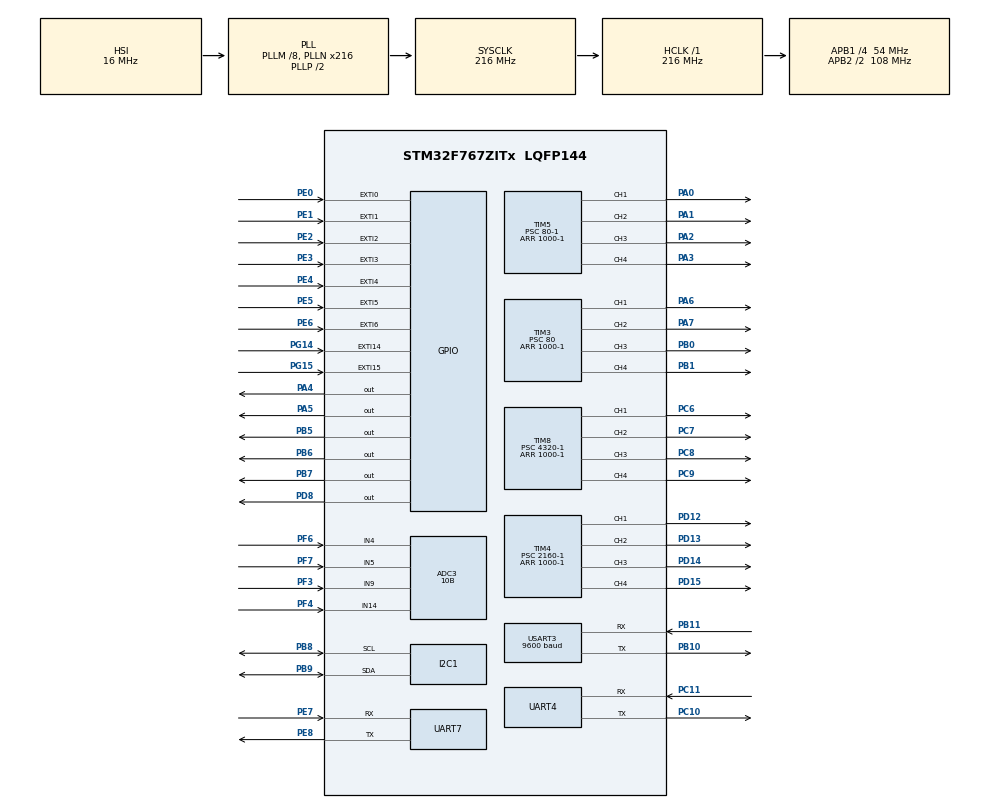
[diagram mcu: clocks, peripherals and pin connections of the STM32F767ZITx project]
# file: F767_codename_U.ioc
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ADC3.Channel-0\#ChannelRegularConversion=ADC_CHANNEL_9
ADC3.ContinuousConvMode=ENABLE
ADC3.DMAContinuousRequests=DISABLE
ADC3.EOCSelection=ADC_EOC_SEQ_CONV
ADC3.InjNumberOfConversion=0
ADC3.NbrOfConversion=1
ADC3.NbrOfConversionFlag=1
ADC3.Rank-0\#ChannelRegularConversion=1
ADC3.Resolution=ADC_RESOLUTION_10B
ADC3.SamplingTime-0\#ChannelRegularConversion=ADC_SAMPLETIME_56CYCLES
Dma.ADC3.0.Direction=DMA_PERIPH_TO_MEMORY
Dma.ADC3.0.FIFOMode=DMA_FIFOMODE_DISABLE
Dma.ADC3.0.Instance=DMA2_Stream0
Dma.ADC3.0.MemDataAlignment=DMA_MDATAALIGN_HALFWORD
Dma.ADC3.0.MemInc=DMA_MINC_ENABLE
Dma.ADC3.0.Mode=DMA_CIRCULAR
Dma.ADC3.0.PeriphDataAlignment=DMA_PDATAALIGN_HALFWORD
Dma.ADC3.0.PeriphInc=DMA_PINC_DISABLE
Dma.ADC3.0.Priority=DMA_PRIORITY_MEDIUM
Dma.Request0=ADC3
Dma.Request1=USART3_RX
Dma.USART3_RX.1.Direction=DMA_PERIPH_TO_MEMORY
Dma.USART3_RX.1.FIFOMode=DMA_FIFOMODE_DISABLE
Dma.USART3_RX.1.Instance=DMA1_Stream1
Dma.USART3_RX.1.MemDataAlignment=DMA_MDATAALIGN_BYTE
Dma.USART3_RX.1.MemInc=DMA_MINC_ENABLE
Dma.USART3_RX.1.Mode=DMA_CIRCULAR
Dma.USART3_RX.1.PeriphDataAlignment=DMA_PDATAALIGN_BYTE
Dma.USART3_RX.1.PeriphInc=DMA_PINC_DISABLE
Dma.USART3_RX.1.Priority=DMA_PRIORITY_MEDIUM
I2C1.Timing=0x20404768
Mcu.Family=STM32F7
Mcu.Name=STM32F767ZITx
Mcu.Package=LQFP144
NVIC.ADC_IRQn=true\:1\:0\:true\:false\:true\:true\:true
NVIC.DMA1_Stream1_IRQn=true\:0\:0\:false\:false\:true\:false\:true
NVIC.DMA2_Stream0_IRQn=true\:0\:0\:false\:false\:true\:false\:true
NVIC.EXTI0_IRQn=true\:0\:0\:false\:false\:true\:true\:true
NVIC.EXTI15_10_IRQn=true\:0\:0\:false\:false\:true\:true\:true
NVIC.EXTI1_IRQn=true\:0\:0\:false\:false\:true\:true\:true
NVIC.EXTI2_IRQn=true\:0\:0\:false\:false\:true\:true\:true
NVIC.EXTI3_IRQn=true\:0\:0\:false\:false\:true\:true\:true
NVIC.EXTI4_IRQn=true\:0\:0\:false\:false\:true\:true\:true
NVIC.EXTI9_5_IRQn=true\:0\:0\:false\:false\:true\:true\:true
NVIC.PriorityGroup=NVIC_PRIORITYGROUP_4
NVIC.USART3_IRQn=true\:0\:0\:false\:false\:true\:true\:true
PA0/WKUP.Signal=S_TIM5_CH1
PA1.Signal=S_TIM5_CH2
PA13.Mode=Serial_Wire
PA13.Signal=SYS_JTMS-SWDIO
PA14.Mode=Serial_Wire
PA14.Signal=SYS_JTCK-SWCLK
PA2.Signal=S_TIM5_CH3
PA3.Signal=S_TIM5_CH4
PA4.Signal=GPIO_Output
PA5.Signal=GPIO_Output
PA6.Signal=S_TIM3_CH1
PA7.Signal=S_TIM3_CH2
PB0.Signal=S_TIM3_CH3
PB1.Signal=S_TIM3_CH4
PB10.Mode=Asynchronous
PB10.Signal=USART3_TX
PB11.Mode=Asynchronous
PB11.Signal=USART3_RX
PB3.Signal=SYS_JTDO-SWO
PB5.Signal=GPIO_Output
PB6.Signal=GPIO_Output
PB7.Signal=GPIO_Output
PB8.Mode=I2C
PB8.Signal=I2C1_SCL
PB9.Mode=I2C
PB9.Signal=I2C1_SDA
PC10.Mode=Asynchronous
PC10.Signal=UART4_TX
PC11.Mode=Asynchronous
PC11.Signal=UART4_RX
PC6.Signal=S_TIM8_CH1
PC7.Signal=S_TIM8_CH2
PC8.Signal=S_TIM8_CH3
PC9.Signal=S_TIM8_CH4
PD12.Signal=S_TIM4_CH1
PD13.Signal=S_TIM4_CH2
PD14.Signal=S_TIM4_CH3
PD15.Signal=S_TIM4_CH4
PD8.Signal=GPIO_Output
PE0.GPIO_ModeDefaultEXTI=GPIO_MODE_IT_RISING_FALLING
PE0.GPIO_PuPd=GPIO_PULLUP
PE0.Signal=GPXTI0
PE1.GPIO_ModeDefaultEXTI=GPIO_MODE_IT_RISING_FALLING
PE1.GPIO_PuPd=GPIO_PULLUP
PE1.Signal=GPXTI1
PE2.GPIO_ModeDefaultEXTI=GPIO_MODE_IT_RISING_FALLING
PE2.GPIO_PuPd=GPIO_PULLUP
PE2.Signal=GPXTI2
PE3.GPIO_ModeDefaultEXTI=GPIO_MODE_IT_RISING_FALLING
PE3.GPIO_PuPd=GPIO_PULLUP
PE3.Signal=GPXTI3
PE4.GPIO_ModeDefaultEXTI=GPIO_MODE_IT_RISING_FALLING
PE4.GPIO_PuPd=GPIO_PULLUP
PE4.Signal=GPXTI4
PE5.GPIO_ModeDefaultEXTI=GPIO_MODE_IT_RISING_FALLING
PE5.GPIO_PuPd=GPIO_PULLUP
PE5.Signal=GPXTI5
PE6.GPIO_ModeDefaultEXTI=GPIO_MODE_IT_RISING_FALLING
PE6.GPIO_PuPd=GPIO_PULLUP
PE6.Signal=GPXTI6
PE7.Mode=Asynchronous
PE7.Signal=UART7_RX
PE8.Mode=Asynchronous
PE8.Signal=UART7_TX
PF3.Mode=IN9
PF3.Signal=ADC3_IN9
PF4.Mode=IN14
PF4.Signal=ADC3_IN14
PF6.Mode=IN4
PF6.Signal=ADC3_IN4
PF7.Mode=IN5
PF7.Signal=ADC3_IN5
PG14.GPIO_ModeDefaultEXTI=GPIO_MODE_IT_RISING_FALLING
PG14.GPIO_PuPd=GPIO_PULLUP
PG14.Signal=GPXTI14
PG15.GPIO_ModeDefaultEXTI=GPIO_MODE_IT_RISING_FALLING
PG15.GPIO_PuPd=GPIO_PULLUP
PG15.Signal=GPXTI15
PH0/OSC_IN.Mode=HSE-External-Oscillator
PH0/OSC_IN.Signal=RCC_OSC_IN
PH1/OSC_OUT.Mode=HSE-External-Oscillator
PH1/OSC_OUT.Signal=RCC_OSC_OUT
ProjectManager.HeapSize=0x200
ProjectManager.StackSize=0x400
ProjectManager.TargetToolchain=STM32CubeIDE
RCC.AHBFreq_Value=216000000
RCC.APB1CLKDivider=RCC_HCLK_DIV4
RCC.APB1Freq_Value=54000000
RCC.APB1TimFreq_Value=108000000
RCC.APB2CLKDivider=RCC_HCLK_DIV2
RCC.APB2Freq_Value=108000000
RCC.APB2TimFreq_Value=216000000
RCC.CortexFreq_Value=216000000
RCC.HCLKFreq_Value=216000000
RCC.HSE_VALUE=25000000
RCC.HSI_VALUE=16000000
RCC.LSE_VALUE=32768
RCC.PLLM=8
RCC.PLLN=216
RCC.SYSCLKFreq_VALUE=216000000
RCC.SYSCLKSource=RCC_SYSCLKSOURCE_PLLCLK
RCC.USBFreq_Value=216000000
RCC.VCOOutputFreq_Value=432000000
SH.S_TIM3_CH1.0=TIM3_CH1,PWM Generation1 CH1
SH.S_TIM3_CH2.0=TIM3_CH2,PWM Generation2 CH2
SH.S_TIM3_CH3.0=TIM3_CH3,PWM Generation3 CH3
SH.S_TIM3_CH4.0=TIM3_CH4,PWM Generation4 CH4
SH.S_TIM4_CH1.0=TIM4_CH1,PWM Generation1 CH1
SH.S_TIM4_CH2.0=TIM4_CH2,PWM Generation2 CH2
SH.S_TIM4_CH3.0=TIM4_CH3,PWM Generation3 CH3
SH.S_TIM4_CH4.0=TIM4_CH4,PWM Generation4 CH4
SH.S_TIM5_CH1.0=TIM5_CH1,PWM Generation1 CH1
SH.S_TIM5_CH2.0=TIM5_CH2,PWM Generation2 CH2
SH.S_TIM5_CH3.0=TIM5_CH3,PWM Generation3 CH3
SH.S_TIM5_CH4.0=TIM5_CH4,PWM Generation4 CH4
SH.S_TIM8_CH1.0=TIM8_CH1,PWM Generation1 CH1
SH.S_TIM8_CH2.0=TIM8_CH2,PWM Generation2 CH2
SH.S_TIM8_CH3.0=TIM8_CH3,PWM Generation3 CH3
SH.S_TIM8_CH4.0=TIM8_CH4,PWM Generation4 CH4
TIM3.Channel-PWM\ Generation1\ CH1=TIM_CHANNEL_1
TIM3.Channel-PWM\ Generation2\ CH2=TIM_CHANNEL_2
TIM3.Channel-PWM\ Generation3\ CH3=TIM_CHANNEL_3
TIM3.Channel-PWM\ Generation4\ CH4=TIM_CHANNEL_4
TIM3.Period=1000-1
TIM3.Prescaler=80
TIM4.Channel-PWM\ Generation1\ CH1=TIM_CHANNEL_1
TIM4.Channel-PWM\ Generation2\ CH2=TIM_CHANNEL_2
TIM4.Channel-PWM\ Generation3\ CH3=TIM_CHANNEL_3
TIM4.Channel-PWM\ Generation4\ CH4=TIM_CHANNEL_4
TIM4.Period=1000-1
TIM4.Prescaler=2160-1
TIM5.Channel-PWM\ Generation1\ CH1=TIM_CHANNEL_1
TIM5.Channel-PWM\ Generation2\ CH2=TIM_CHANNEL_2
TIM5.Channel-PWM\ Generation3\ CH3=TIM_CHANNEL_3
TIM5.Channel-PWM\ Generation4\ CH4=TIM_CHANNEL_4
TIM5.Period=1000-1
TIM5.Prescaler=80-1
TIM8.Channel-PWM\ Generation1\ CH1=TIM_CHANNEL_1
TIM8.Channel-PWM\ Generation2\ CH2=TIM_CHANNEL_2
TIM8.Channel-PWM\ Generation3\ CH3=TIM_CHANNEL_3
TIM8.Channel-PWM\ Generation4\ CH4=TIM_CHANNEL_4
TIM8.Period=1000-1
TIM8.Prescaler=4320-1
USART3.BaudRate=9600
USART3.RxPinLevelInvertParam=ADVFEATURE_RXINV_DISABLE
USART3.SwapParam=ADVFEATURE_SWAP_DISABLE
USART3.TxPinLevelInvertParam=ADVFEATURE_TXINV_DISABLE
USART3.VirtualMode-Asynchronous=VM_ASYNC
VP_TIM3_VS_ClockSourceINT.Mode=Internal
VP_TIM4_VS_ClockSourceINT.Mode=Internal
VP_TIM5_VS_ClockSourceINT.Mode=Internal
VP_TIM8_VS_ClockSourceINT.Mode=Internal
board=custom

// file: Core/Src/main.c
/* USER CODE BEGIN Header */
/**
  ******************************************************************************
  * @file           : main.c
  * @brief          : Main program body
  ******************************************************************************
  * @attention
  *
  * <h2><center>&copy; Copyright (c) 2025 STMicroelectronics.
  * All rights reserved.</center></h2>
  *
  * This software component is licensed by ST under BSD 3-Clause license,
  * the "License"; You may not use this file except in compliance with the
  * License. You may obtain a copy of the License at:
  *                        opensource.org/licenses/BSD-3-Clause
  *
  ******************************************************************************
  */
/* USER CODE END Header */

#include "main.h"
#include "adc.h"
#include "dma.h"
#include "i2c.h"
#include "tim.h"
#include "usart.h"
#include "gpio.h"

/* USER CODE BEGIN Includes */
#include "stdbool.h"
#include "stdlib.h"
#include "stdio.h"
#include "omuni_3.h"
#include "servo.h"
#include "SO1602A.h"
#include "BNO055.h"
/* USER CODE END Includes */

void SystemClock_Config(void);

/* USER CODE BEGIN 0 */
bool SW_red = 0;			//takuto switch
bool SW_blue = 0;
bool SW_white = 0;
bool SW_black = 0;
bool status_1;				//toggle 1
bool status_2;				//toggle 2
bool status_3;				//toggle 3
bool servo_sel;

uint16_t speed;				//normal speed
uint16_t test_speed = 0;	//test speed
uint8_t test_servo;
int test_pulse1;
int test_pulse2;

uint16_t servo1_kakudo = servo1_init * 4;
uint16_t servo2_kakudo = servo2_init * 4;
uint16_t servo3_kakudo = servo3_init * 4;
uint16_t servo4_kakudo = servo4_init * 4;
uint16_t servo5_kakudo = servo5_init * 4;
uint16_t servo6_kakudo = servo6_init * 4;
uint16_t servo7_kakudo = servo7_init * 4;
uint16_t servo8_kakudo = servo8_init * 4;

int adcvalue;
uint16_t adc_value[2];
int adcvalue0;
int adcvalue1;
uint8_t cnt;

char str_1[5];				//strings for LCD display
char str_test[4];			//need to use strings for LCD
char str_servo[2];
char str_speed[2];
char str_potentio1[2];
char str_potentio2[2];
char str_bno[2];

char rxbuf[2];

BNO055 bno;				//define structure for BNO055

float defaultYaw;		//define the beggining value of BNO055
float defaultgyrox;
float defaultgyroy;
float defaultgyroz;

int robotYaw;			//define current value of BNO055
int robot_gyro_x;
int robot_gyro_y;
int robot_gyro_z;

void HAL_GPIO_EXTI_Callback(uint16_t GPIO_Pin){
	if(GPIO_Pin == GPIO_PIN_0){				//toggle 3
		if(HAL_GPIO_ReadPin(GPIOE,GPIO_PIN_0) == 0){
			status_3 = 1;
		}else{
			status_3 = 0;
		}
	}else if(GPIO_Pin == GPIO_PIN_1){		//toggle 1
		if(HAL_GPIO_ReadPin(GPIOE,GPIO_PIN_1) == 0){
			status_1 = 1;
		}else{
			status_1 = 0;
		}
	}else if(GPIO_Pin == GPIO_PIN_2){		//toggle 2
		if(HAL_GPIO_ReadPin(GPIOE,GPIO_PIN_2) == 0){
			status_2 = 1;
		}else {
			status_2 = 0;
		}
	}else if(GPIO_Pin == GPIO_PIN_3){		//botton black
		if(HAL_GPIO_ReadPin(GPIOE,GPIO_PIN_3) == 0){
			SW_black = 1;
		}else {
			SW_black = 0;
		}
	}else if(GPIO_Pin == GPIO_PIN_4){		//botton white
		if(HAL_GPIO_ReadPin(GPIOE,GPIO_PIN_4) == 0){
			SW_white = 1;
		}else {
			SW_white = 0;
		}
	}else if(GPIO_Pin == GPIO_PIN_5){		//botton red
		if(HAL_GPIO_ReadPin(GPIOE,GPIO_PIN_5) == 0){
			SW_red = 1;
		}else {
			SW_red = 0;
		}
	}else if(GPIO_Pin == GPIO_PIN_6){		//botton blue
		if(HAL_GPIO_ReadPin(GPIOE,GPIO_PIN_6) == 0){
			SW_blue = 1;
		}else {
			SW_blue = 0;
		}
	}

}
/* USER CODE END 0 */

int main(void)
{

  /* MCU Configuration--------------------------------------------------------*/

  /* Reset of all peripherals, Initializes the Flash interface and the Systick. */
  HAL_Init();

  /* Configure the system clock */
  SystemClock_Config();

  /* Initialize all configured peripherals */
  MX_GPIO_Init();
  MX_DMA_Init();
  MX_TIM3_Init();
  MX_TIM4_Init();
  MX_TIM5_Init();
  MX_TIM8_Init();
  MX_I2C1_Init();
  MX_UART7_Init();
  MX_USART3_UART_Init();
  MX_ADC3_Init();
  MX_UART4_Init();
  /* USER CODE BEGIN 2 */
  HAL_GPIO_WritePin(GPIOD,GPIO_PIN_8,SET);			//light up the LED on the board
  HAL_UART_Receive_DMA(&huart3 , (uint8_t *)rxbuf , 2 );		//tpip
  //HAL_UART_Receive_DMA(&huart3 , (uint8_t *)rxbuf , 2 );		//raspi

  HAL_TIM_PWM_Start(&htim3,TIM_CHANNEL_1);		//dc motor pwm start
  HAL_TIM_PWM_Start(&htim3,TIM_CHANNEL_2);
  HAL_TIM_PWM_Start(&htim3,TIM_CHANNEL_3);
  HAL_TIM_PWM_Start(&htim3,TIM_CHANNEL_4);
  HAL_TIM_PWM_Start(&htim5,TIM_CHANNEL_1);
  HAL_TIM_PWM_Start(&htim5,TIM_CHANNEL_2);
  HAL_TIM_PWM_Start(&htim5,TIM_CHANNEL_3);
  HAL_TIM_PWM_Start(&htim5,TIM_CHANNEL_4);

  HAL_TIM_PWM_Start(&htim4,TIM_CHANNEL_1);		//servo pwm start
  HAL_TIM_PWM_Start(&htim4,TIM_CHANNEL_2);
  HAL_TIM_PWM_Start(&htim4,TIM_CHANNEL_3);
  HAL_TIM_PWM_Start(&htim4,TIM_CHANNEL_4);
  HAL_TIM_PWM_Start(&htim8,TIM_CHANNEL_1);
  HAL_TIM_PWM_Start(&htim8,TIM_CHANNEL_2);
  HAL_TIM_PWM_Start(&htim8,TIM_CHANNEL_3);
  HAL_TIM_PWM_Start(&htim8,TIM_CHANNEL_4);

  oled_Init(&hi2c1);		//LCD initialize
  OLED_Init();
  set_cursor(1,0);
  Puts("start");
  set_cursor(2,0);
  Puts("3 gouki");

  BNO055_init(&bno , &hi2c1);		//BNO055 initialize

  char bno_check = BNO055_check(&bno);			//for debug
  BNO055_reset(&bno);
  BNO055_set_angle_units(&bno , DEGREES);
  BNO055_setpowermode(&bno , POWER_MODE_NORMAL);
  BNO055_setmode(&bno , OPERATION_MODE_NDOF);

  char bno_state = BNO055_bno_state(&bno);		//for debug
  //xprintf("%d , %d\n" , bno_check , bno_state);		//for debugging BNO055

  BNO055_get_angles(&bno);				//get initial value
  BNO055_get_gyro(&bno);
  defaultYaw = bno.euler.yaw;
  defaultgyrox = bno.gyro.x;
  defaultgyroy = bno.gyro.y;
  defaultgyroz = bno.gyro.z;

  servo_init();

  HAL_GPIO_WritePin(GPIOD,GPIO_PIN_8,RESET);		//turn off the LED on the board
  HAL_GPIO_WritePin(GPIOA,GPIO_PIN_4,SET);			//turn on the motor driver	1 and 2
  HAL_GPIO_WritePin(GPIOA,GPIO_PIN_5,SET);			//turn on the motor driver  3 and 4

  //HAL_ADC_Start_DMA(&hadc3 , (uint32_t *)adc_value , 2 );

  /* USER CODE END 2 */

  /* Infinite loop */
  /* USER CODE BEGIN WHILE */
  while (1)
  {
	  if(status_1 && status_2 && status_3){			//uart mode
		  HAL_UART_Receive_DMA(&huart3 , (uint8_t *)rxbuf , 2 );		//tpip

		  HAL_GPIO_WritePin(GPIOB,GPIO_PIN_5,SET);		//turn off the full color LED
		  HAL_GPIO_WritePin(GPIOB,GPIO_PIN_6,SET);
		  HAL_GPIO_WritePin(GPIOB,GPIO_PIN_7,SET);

		  speed = rxbuf[1];
		  speed = map(speed , 0 , 100 , 0 , 999);
		  sprintf(str_speed,"%d",speed);		//convert speed value to strings

		  OLED_Init();			//LCD initialize and display
		  set_cursor(1,0);
		  Puts("UART mode");
		  set_cursor(2,0);
		  Puts("Received ");
		  set_cursor(2,10);
		  Puts(rxbuf);
		  set_cursor(2,13);
		  Puts(str_speed);			//display speed value

		  if(rxbuf[0] == 'k'){
		  	  omuni(0,0);
		  	  motor_4(0,0);

	  	  }else if(rxbuf[0] == 'c'){
			  omuni(2,speed);			// forward
			  if(rxbuf[0] == 'k'){
				  for(int cnt = 500 ; cnt > 0 ; cnt--){
					  omuni(2 , cnt);
				  }
				  break;
			  }

		  }else if(rxbuf[0] == 'g'){
			  omuni(1,speed);			// back

		  }else if(rxbuf[0] == 'i'){		//turn right
			  omuni(5,speed);

		  }else if(rxbuf[0] == 'j'){		//turn left
			  omuni(6,speed);

		  }else if(rxbuf[0] == 'a'){		//right
			  omuni(4,speed);

		  }else if(rxbuf[0] == 'e'){		//left
			  omuni(3,speed);

		  }else if(rxbuf[0] == 'l'){		//rescue arm up
			  motor_4(999 , 0);

		  }else if(rxbuf[0] == 'm'){		//rescue arm down
			  motor_4(0 , 999);

		  }else if(rxbuf[0] == 'n'){		//camera arm up
			  for(;servo5_kakudo > 0 ; servo5_kakudo--){
				  servo_5(servo5_kakudo / 4);
				  HAL_Delay(5);
				  if(rxbuf[0] == 'k'){
					  break;
				  }
			  }

		  }else if(rxbuf[0] == 'o'){		//camera arm down
			  for(;servo5_kakudo < 600 ; servo5_kakudo++){
				  servo_5(servo5_kakudo / 4);
				  HAL_Delay(5);
				  if(rxbuf[0] == 'k'){
					  break;
				  }
			  }

		  }else if(rxbuf[0] == 'p'){		//right rescue arm CW
			  for(;servo1_kakudo > 0 ; servo1_kakudo--){
				  servo_1(servo1_kakudo / 4);
				  HAL_Delay(5);
				  if(rxbuf[0] == 'k'){
					  break;
				  }
			  }

		  }else if(rxbuf[0] == 'q'){		//right rescue arm CCW
			  for(;servo1_kakudo < 360  ; servo1_kakudo++){
				  servo_1(servo1_kakudo / 4);
				  HAL_Delay(5);
				  if(rxbuf[0] == 'k'){
					  break;
				  }
			  }

		  }else if(rxbuf[0] == 'r'){		//left rescue arm CW
			  for(;servo2_kakudo > 360 ; servo2_kakudo--){
				  servo_2(servo2_kakudo / 4);
				  HAL_Delay(5);
				  if(rxbuf[0] == 'k'){
					  break;
				  }
			  }

		  }else if(rxbuf[0] == 's'){		//left rescue arm CCW
			  for(;servo2_kakudo < 720 ; servo2_kakudo++){
				  servo_2(servo2_kakudo / 4);
				  HAL_Delay(5);
				  if(rxbuf[0] == 'k'){
					  break;
				  }
			  }

		  }else if(rxbuf[0] == 't'){		//rescue arm up
			  for(;servo3_kakudo < 720 ; servo3_kakudo++){
				  servo_3(servo3_kakudo / 4);
				  servo_4((int)map(servo3_kakudo , 0 , 720 , 720 , 0) / 4);
				  HAL_Delay(8);
				  if(rxbuf[0] == 'k'){
					  break;
				  }
			  }

		  }else if(rxbuf[0] == 'u'){		//rescue arm down
			  for(;servo3_kakudo > 0 ; servo3_kakudo--){
				  servo_3(servo3_kakudo / 4);
				  servo_4((int)map(servo3_kakudo , 0 , 720, 720 , 0) / 4);
				  HAL_Delay(8);
				  if(rxbuf[0] == 'k'){
					  break;
				  }
			  }

		  }else if(rxbuf[0] == 'v'){		//rescue arm initializing position
			  servo_init();
			  servo1_kakudo = servo1_init * 4;
			  servo2_kakudo = servo2_init * 4;
			  servo3_kakudo = servo3_init * 4;
			  servo4_kakudo = servo4_init * 4;

		  }else if(rxbuf[0] == 'w'){		//rescue arm close at the same time
			  for(;servo1_kakudo < 360 ; servo1_kakudo++){
				  servo_1(servo1_kakudo / 4);
				  servo_2((int)map(servo1_kakudo , 0 , 360 , 720 , 360) / 4);
				  HAL_Delay(8);
				  if(rxbuf[0] == 'k'){
					  break;
				  }
			  }

		  }else if(rxbuf[0] == 'x'){		//rescue arm open at the same time
			  for(;servo1_kakudo > 0 ; servo1_kakudo--){
				  servo_1(servo1_kakudo / 4);
				  servo_2((int)map(servo1_kakudo , 0 , 360 , 720 , 360) / 4);
				  HAL_Delay(8);
				  if(rxbuf[0] == 'k'){
					  break;
				  }
			  }
		  }

	  }else if(status_1){			//servo test mode  		under development   don't use

		  HAL_GPIO_WritePin(GPIOB,GPIO_PIN_5,RESET);
		  HAL_GPIO_WritePin(GPIOB,GPIO_PIN_6,SET);
		  HAL_GPIO_WritePin(GPIOB,GPIO_PIN_7,SET);

		  if(SW_white){			//servo no tanntai or fukusuu no sentaku
			  servo_sel = 1;
		  }else if(SW_black){
			  servo_sel = 0;
		  }

		  HAL_ADC_Start(&hadc3);
		  if(HAL_ADC_PollForConversion(&hadc3,1000) == HAL_OK){		//potentiometer no yomitori
			  adcvalue = HAL_ADC_GetValue(&hadc3);
			  test_pulse1 = map(adcvalue , 0 , 1023 , 0 , 180);
			  HAL_ADC_Stop(&hadc3);
		  }

		  //adcvalue0 = adc_value[0];
		  //adcvalue1 = adc_value[1];

		  //test_pulse1 = adcvalue0 * 180 / 1023;
		  //test_pulse2 = adcvalue1 * 180 / 1023;
		  sprintf(str_potentio1,"%d",test_pulse1);
		  //sprintf(str_potentio2,"%d",test_pulse2);

		  if(servo_sel){			//servo tanntai dousa mode
			  OLED_Init();
			  set_cursor(1,0);
			  Puts("singular");

			  if(SW_red){			// servo bangou no sentaku
				  test_servo += 1;
			  }else if(SW_blue){
				  test_servo -= 1;
			  }
			  sprintf(str_servo,"%d",test_servo);		//strings ni henkan

			  set_cursor(2,0);				//settei naiyou no hyouji
			  Puts("servo:");
			  set_cursor(2,7);
			  Puts(str_servo);
			  set_cursor(2,10);
			  Puts(str_potentio1);

			  servo_move(test_servo , test_pulse1);			//servo wo ugokasu

		  }else if(!servo_sel){			// servo fukusuu dousa mode

			  OLED_Init();
			  set_cursor(1,0);
			  Puts("manipulator");
			  set_cursor(2,0);
			  Puts("1:");
			  set_cursor(2,3);
			  Puts(str_potentio1);
			  set_cursor(2,7);
			  Puts("2:");
			  set_cursor(2,10);
			  Puts(str_potentio2);

		  }

		  //HAL_ADC_Stop_DMA(&hadc3);			//hituyou

	  }else if(status_2){		//DC motor speed setting mode

		  HAL_GPIO_WritePin(GPIOB,GPIO_PIN_5,SET);
		  HAL_GPIO_WritePin(GPIOB,GPIO_PIN_6,RESET);
		  HAL_GPIO_WritePin(GPIOB,GPIO_PIN_7,SET);

		  sprintf(str_test,"%d",test_speed);		//convert number to strings

		  OLED_Init();			//initialize LCD and diplay
		  set_cursor(1,0);
		  Puts("speed setting");
		  set_cursor(2,0);
		  Puts("speed =");
		  set_cursor(2,8);
		  Puts(str_test);

		  if(SW_red){
			  test_speed += 50;
		  }else if(SW_blue){
			  test_speed -= 50;
		  }
	  }else if(status_3){		//omuni wheel test mode
		  HAL_GPIO_WritePin(GPIOB,GPIO_PIN_5,SET);
		  HAL_GPIO_WritePin(GPIOB,GPIO_PIN_6,SET);
		  HAL_GPIO_WritePin(GPIOB,GPIO_PIN_7,RESET);

		  BNO055_get_angles(&bno);		//get value of BNO055
		  BNO055_get_gyro(&bno);
		  robotYaw = bno.euler.yaw - defaultYaw;		//yaw angle calculation
		  //robot_gyro_x = bno.gyro.x - defaultgyrox;
		  //robot_gyro_y = bno.gyro.y - defaultgyroy;
		  //robot_gyro_z = bno.gyro.z - defaultgyroz;

		  sprintf(str_bno,"%d",robotYaw);		//convert number to strings for displaying sensor value

		  OLED_Init();				//initialize LCD and diplay
		  set_cursor(1,0);
		  Puts("test mode 1");
		  set_cursor(2,0);
		  Puts("Yaw:");
		  set_cursor(2,5);
		  Puts(str_bno);

		  if(SW_red){				//push red sw
			  omuni(2,test_speed);
			  set_cursor(2,10);
			  Puts("FW");		//forward

		  }else if(SW_blue){		//push blue sw
			  omuni(1 , test_speed);
			  set_cursor(2,10);
			  Puts("BK");		//back
		  }else if(SW_black){		//push black sw
			  omuni(5 , test_speed);
			  set_cursor(2,10);
			  Puts("TR");		//turn right
		  }else if(SW_white){		//push white sw
			  omuni(6 , test_speed);
			  set_cursor(2,10);
			  Puts("TL");		//turn left
		  }else{					//not pushing
			  omuni(0,0);
			  set_cursor(2,10);
			  Puts("stop");		//stop
		  }

	  }else{			// dc motor test mode

		  HAL_GPIO_WritePin(GPIOB,GPIO_PIN_5,RESET);
		  HAL_GPIO_WritePin(GPIOB,GPIO_PIN_6,RESET);
		  HAL_GPIO_WritePin(GPIOB,GPIO_PIN_7,SET);

		  OLED_Init();
		  set_cursor(1,0);
		  Puts("test mode 2");
		  set_cursor(2,0);
		  Puts("aiueo");

		  if(SW_red){
			  motor_4(test_speed , 0);
		  }else if(SW_blue){
			  motor_4(0 , test_speed);
		  }else{
			  motor_4(0 , 0);
		  }

	  }

		  HAL_Delay(2);
    /* USER CODE END WHILE */

  }
}

void SystemClock_Config(void)
{
  RCC_OscInitTypeDef RCC_OscInitStruct = {0};
  RCC_ClkInitTypeDef RCC_ClkInitStruct = {0};
  RCC_PeriphCLKInitTypeDef PeriphClkInitStruct = {0};

  /** Configure the main internal regulator output voltage
  */
  __HAL_RCC_PWR_CLK_ENABLE();
  __HAL_PWR_VOLTAGESCALING_CONFIG(PWR_REGULATOR_VOLTAGE_SCALE1);
  /** Initializes the CPU, AHB and APB busses clocks
  */
  RCC_OscInitStruct.OscillatorType = RCC_OSCILLATORTYPE_HSI;
  RCC_OscInitStruct.HSIState = RCC_HSI_ON;
  RCC_OscInitStruct.HSICalibrationValue = RCC_HSICALIBRATION_DEFAULT;
  RCC_OscInitStruct.PLL.PLLState = RCC_PLL_ON;
  RCC_OscInitStruct.PLL.PLLSource = RCC_PLLSOURCE_HSI;
  RCC_OscInitStruct.PLL.PLLM = 8;
  RCC_OscInitStruct.PLL.PLLN = 216;
  RCC_OscInitStruct.PLL.PLLP = RCC_PLLP_DIV2;
  RCC_OscInitStruct.PLL.PLLQ = 2;
  if (HAL_RCC_OscConfig(&RCC_OscInitStruct) != HAL_OK)
  {
    Error_Handler();
  }
  /** Activate the Over-Drive mode
  */
  if (HAL_PWREx_EnableOverDrive() != HAL_OK)
  {
    Error_Handler();
  }
  /** Initializes the CPU, AHB and APB busses clocks
  */
  RCC_ClkInitStruct.ClockType = RCC_CLOCKTYPE_HCLK|RCC_CLOCKTYPE_SYSCLK
                              |RCC_CLOCKTYPE_PCLK1|RCC_CLOCKTYPE_PCLK2;
  RCC_ClkInitStruct.SYSCLKSource = RCC_SYSCLKSOURCE_PLLCLK;
  RCC_ClkInitStruct.AHBCLKDivider = RCC_SYSCLK_DIV1;
  RCC_ClkInitStruct.APB1CLKDivider = RCC_HCLK_DIV4;
  RCC_ClkInitStruct.APB2CLKDivider = RCC_HCLK_DIV2;

  if (HAL_RCC_ClockConfig(&RCC_ClkInitStruct, FLASH_LATENCY_7) != HAL_OK)
  {
    Error_Handler();
  }
  PeriphClkInitStruct.PeriphClockSelection = RCC_PERIPHCLK_USART3|RCC_PERIPHCLK_UART4
                              |RCC_PERIPHCLK_UART7|RCC_PERIPHCLK_I2C1;
  PeriphClkInitStruct.Usart3ClockSelection = RCC_USART3CLKSOURCE_PCLK1;
  PeriphClkInitStruct.Uart4ClockSelection = RCC_UART4CLKSOURCE_PCLK1;
  PeriphClkInitStruct.Uart7ClockSelection = RCC_UART7CLKSOURCE_PCLK1;
  PeriphClkInitStruct.I2c1ClockSelection = RCC_I2C1CLKSOURCE_PCLK1;
  if (HAL_RCCEx_PeriphCLKConfig(&PeriphClkInitStruct) != HAL_OK)
  {
    Error_Handler();
  }
}

void Error_Handler(void)
{
}

/************************ (C) COPYRIGHT STMicroelectronics *****END OF FILE****/
